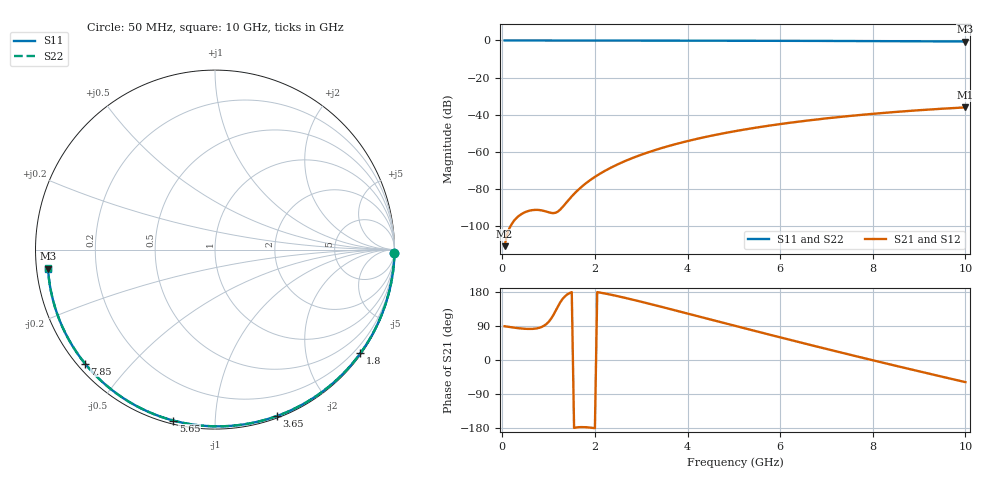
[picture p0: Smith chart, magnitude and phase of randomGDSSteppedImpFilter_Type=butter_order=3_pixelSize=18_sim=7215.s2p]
! freq	dB(S11)	phase(S11)	dB(S12)	phase(S12)
!  dB(S21)	phase(S21)	dB(S22)	phase(S22)
!S-par simulation data
#  GHz  S  DB  R 50
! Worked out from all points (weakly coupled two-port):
!   200 points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, 50 MHz to 10 GHz, reference 50 ohm
!   highest |S21| = -36.06 dB at 10 GHz (marker M1); lowest = -110.8 dB at 50 MHz (marker M2)
!   lowest |S11| = -0.6 dB at 10 GHz (marker M3), VSWR 30.43, Z = 1.65 - j2.83 ohm
!   |S11| at or under -10 dB: nowhere
!   |S22| runs from -0.6 to 0.0 dB; largest |S21 - S12| = 0
!   S11 on the Smith chart (normalised r, x): 50 MHz: open; 1.8 GHz: 0.03, -3.13; 3.65 GHz: 0.02, -1.44; 5.65 GHz: 0.02, -0.78; 7.85 GHz: 0.02, -0.38; 10 GHz: 0.03, -0.06
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0.05  -0.00 -1.0  -110.84 89.0  -110.84 89.0  -0.00 -1.0
0.45  -0.01 -9.0  -93.03 82.7  -93.03 82.7  -0.01 -9.0
0.85  -0.02 -16.9  -91.56 87.2  -91.56 87.2  -0.02 -17.0
1.65  -0.04 -32.6  -80.24 -177.4  -80.24 -177.4  -0.04 -32.6
1.75  -0.04 -34.5  -78.07 -177.1  -78.07 -177.1  -0.04 -34.5
1.8  -0.04 -35.4  -77.06 -177.3  -77.06 -177.3  -0.04 -35.5
2.1  -0.05 -41.2  -71.93 178.1  -71.93 178.1  -0.05 -41.2
2.3  -0.06 -45.0  -69.12 173.5  -69.12 173.5  -0.06 -45.0
2.5  -0.06 -48.7  -66.66 168.2  -66.66 168.2  -0.06 -48.7
2.9  -0.07 -56.1  -62.49 156.7  -62.49 156.7  -0.07 -56.2
3.4  -0.09 -65.2  -58.28 141.4  -58.28 141.4  -0.09 -65.3
3.65  -0.09 -69.7  -56.47 133.6  -56.47 133.6  -0.09 -69.7
4.35  -0.12 -82.0  -52.20 111.5  -52.20 111.5  -0.12 -82.0
5.05  -0.14 -93.8  -48.76 89.4  -48.76 89.4  -0.14 -93.8
5.65  -0.17 -103.7  -46.31 70.6  -46.31 70.6  -0.17 -103.8
6.15  -0.20 -111.8  -44.54 55.1  -44.54 55.1  -0.20 -111.9
6.7  -0.23 -120.6  -42.82 38.3  -42.82 38.3  -0.23 -120.6
7.25  -0.28 -129.3  -41.31 21.6  -41.31 21.6  -0.28 -129.3
7.85  -0.33 -138.7  -39.87 3.7  -39.87 3.7  -0.33 -138.8
8.35  -0.37 -146.6  -38.80 -11.0  -38.80 -11.0  -0.37 -146.7
9.2  -0.47 -160.3  -37.25 -35.6  -37.25 -35.6  -0.47 -160.3
10  -0.57 -173.5  -36.06 -58.4  -36.06 -58.4  -0.57 -173.6
